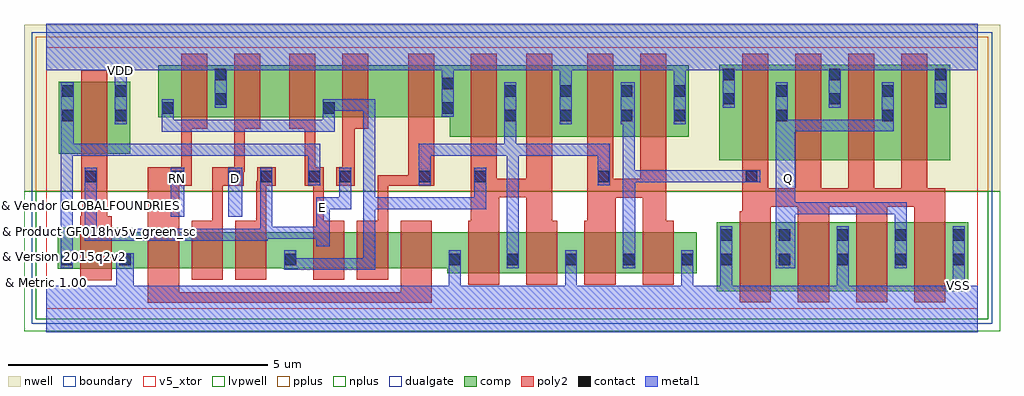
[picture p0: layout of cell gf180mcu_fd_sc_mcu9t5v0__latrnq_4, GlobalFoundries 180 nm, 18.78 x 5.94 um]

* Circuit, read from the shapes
.subckt gf180mcu_fd_sc_mcu9t5v0__latrnq_4 D E Q RN VDD VSS
XM1 VSS E n1 VSUBS nfet_05v0 w=0.79u l=0.6u
XM2 n2 RN VSS VSUBS nfet_05v0 w=0.7u l=0.6u
XM3 n3 D n2 VSUBS nfet_05v0 w=0.7u l=0.6u
XM4 n4 E n3 VSUBS nfet_05v0 w=0.7u l=0.6u
XM5 n5 n1 n4 VSUBS nfet_05v0 w=0.7u l=0.6u
XM6 n6 n7 n5 VSUBS nfet_05v0 w=0.7u l=0.6u
XM7 VSS RN n6 VSUBS nfet_05v0 w=0.7u l=0.6u
XM8 n7 n4 VSS VSUBS nfet_05v0 w=0.79u l=0.6u m=2
XM9 n8 n7 VSS VSUBS nfet_05v0 w=0.79u l=0.6u m=2
XM10 Q n8 VSS VSUBS nfet_05v0 w=1.32u l=0.6u m=4
XM11 VDD E n1 n9 pfet_05v0 w=1.38u l=0.5u
XM12 VDD RN n4 n9 pfet_05v0 w=1u l=0.5u
XM13 n10 D VDD n9 pfet_05v0 w=1u l=0.5u
XM14 n4 n1 n10 n9 pfet_05v0 w=1u l=0.5u
XM15 n11 E n4 n9 pfet_05v0 w=1u l=0.5u
XM16 VDD n7 n11 n9 pfet_05v0 w=1u l=0.5u
XM17 n7 n4 VDD n9 pfet_05v0 w=1.38u l=0.5u m=2
XM18 n8 n7 VDD n9 pfet_05v0 w=1.38u l=0.5u m=2
XM19 Q n8 VDD n9 pfet_05v0 w=1.83u l=0.5u m=4
.ends

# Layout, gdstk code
import gdstk
lib = gdstk.Library(unit=1e-6, precision=1e-09)
def R(c, l, rs):  # rectangles x0, y0, x1, y1
    for r in rs: c.add(gdstk.rectangle(r[:2], r[2:], *l))
def A(c, l, x, y, w, h, nx, ny, dx, dy):  # array of equal rectangles
    R(c, l, [(x+i*dx, y+j*dy, x+i*dx+w, y+j*dy+h) for i in range(nx) for j in range(ny)])
def P(c, l, *ps):  # polygons
    for p in ps: c.add(gdstk.Polygon(p, *l))
boundary = (0, 0)
nwell = (21, 0)
comp = (22, 0)
poly2 = (30, 0)
pplus = (31, 0)
nplus = (32, 0)
contact = (33, 0)
metal1 = (34, 0)
dualgate = (55, 0)
v5_xtor = (112, 1)
lvpwell = (204, 0)

gf180mcu_fd_sc_mcu9t5v0_ = lib.new_cell('gf180mcu_fd_sc_mcu9t5v0__latrnq_4')
R(gf180mcu_fd_sc_mcu9t5v0_, boundary, [(0,0,17.92,5.04)])
R(gf180mcu_fd_sc_mcu9t5v0_, nwell, [(-0.43,2.265,18.35,5.47)])
R(gf180mcu_fd_sc_mcu9t5v0_, comp, [(12.9,0.345,17.74,1.665), (12.95,2.865,17.39,4.695), (0.235,2.99,1.615,4.37)])
P(gf180mcu_fd_sc_mcu9t5v0_, comp, [(7.765,3.31),(7.765,3.69),(2.155,3.69),(2.155,4.69),(12.365,4.69),(12.365,3.31)],
  [(7.715,0.69),(7.715,0.78),(4.835,0.78),(4.835,0.775),(4.535,0.775),(4.535,0.78),(1.655,0.78),(1.655,0.775),(0.215,0.775),(0.215,1.565),(1.655,1.565),(1.655,1.48),(12.515,1.48),(12.515,0.69)])
P(gf180mcu_fd_sc_mcu9t5v0_, poly2, [(0.655,0.555),(0.655,1.785),(0.675,1.785),(0.675,4.59),(1.175,4.59),(1.175,1.785),(1.255,1.785),(1.255,0.555)],
  [(2.795,0.56),(2.795,1.7),(3.195,1.7),(3.195,2.73),(3.615,2.73),(3.615,4.91),(4.115,4.91),(4.115,3.47),(3.815,3.47),(3.815,2.64),(3.795,2.64),(3.795,2.37),(3.395,2.37),(3.395,0.56)],
  [(3.635,0.56),(3.635,1.7),(4.035,1.7),(4.035,2.46),(4.055,2.46),(4.055,2.73),(4.415,2.73),(4.415,2.37),(4.235,2.37),(4.235,0.56)],
  [(5.135,0.56),(5.135,2.37),(4.975,2.37),(4.975,3.47),(4.675,3.47),(4.675,4.91),(5.175,4.91),(5.175,2.73),(5.335,2.73),(5.335,1.7),(5.735,1.7),(5.735,0.56)],
  [(5.575,2.37),(5.575,2.73),(5.695,2.73),(5.695,4.91),(6.195,4.91),(6.195,3.47),(5.935,3.47),(5.935,2.37)],
  [(1.955,0.12),(1.955,2.73),(2.595,2.73),(2.595,4.91),(3.095,4.91),(3.095,3.47),(2.795,3.47),(2.795,2.37),(2.555,2.37),(2.555,0.32),(6.815,0.32),(6.815,1.7),(7.415,1.7),(7.415,0.12)],
  [(5.975,0.56),(5.975,1.7),(6.375,1.7),(6.375,2.57),(6.965,2.57),(6.965,4.91),(7.465,4.91),(7.465,2.37),(6.575,2.37),(6.575,0.56)],
  [(8.115,0.47),(8.115,1.7),(8.165,1.7),(8.165,4.91),(8.665,4.91),(8.665,2.505),(9.235,2.505),(9.235,4.91),(9.735,4.91),(9.735,1.7),(9.835,1.7),(9.835,0.47),(9.235,0.47),(9.235,2.145),(8.715,2.145),(8.715,0.47)],
  [(10.355,0.47),(10.355,1.7),(10.405,1.7),(10.405,4.91),(10.905,4.91),(10.905,2.505),(11.425,2.505),(11.425,4.91),(11.925,4.91),(11.925,1.7),(12.075,1.7),(12.075,0.47),(11.475,0.47),(11.475,2.14),(10.955,2.14),(10.955,0.47)],
  [(13.34,0.125),(13.34,1.885),(13.39,1.885),(13.39,4.915),(13.89,4.915),(13.89,2.325),(14.41,2.325),(14.41,4.915),(14.91,4.915),(14.91,2.325),(15.43,2.325),(15.43,4.915),(15.93,4.915),(15.93,2.325),(16.45,2.325),(16.45,4.915),(16.95,4.915),(16.95,2.325),(17.3,2.325),(17.3,0.125),(16.7,0.125),(16.7,1.965),(16.18,1.965),(16.18,0.125),(15.58,0.125),(15.58,1.965),(15.06,1.965),(15.06,0.125),(14.46,0.125),(14.46,1.965),(13.94,1.965),(13.94,0.125)])
R(gf180mcu_fd_sc_mcu9t5v0_, pplus, [(-0.2,2.265,18.12,5.24)])
R(gf180mcu_fd_sc_mcu9t5v0_, nplus, [(-0.2,-0.2,18.12,2.265)])
A(gf180mcu_fd_sc_mcu9t5v0_, contact, 7.745, 0.845, 0.22, 0.22, 5, 1, 1.12, 0)
A(gf180mcu_fd_sc_mcu9t5v0_, contact, 12.97, 0.845, 0.22, 0.22, 5, 2, 1.12, 0.47)
A(gf180mcu_fd_sc_mcu9t5v0_, contact, 13.02, 3.935, 0.22, 0.22, 3, 2, 2.04, 0.47)
R(gf180mcu_fd_sc_mcu9t5v0_, contact, [(0.285,0.845,0.505,1.065), (1.405,0.845,1.625,1.065), (4.585,0.845,4.805,1.065), (0.745,2.44,0.965,2.66), (2.425,2.44,2.645,2.66), (3.505,2.44,3.725,2.66), (4.125,2.44,4.345,2.66), (5.045,2.44,5.265,2.66), (5.645,2.44,5.865,2.66), (7.175,2.44,7.395,2.66), (8.235,2.44,8.455,2.66), (10.615,2.44,10.835,2.66), (13.46,2.44,13.68,2.66), (0.305,3.61,0.525,3.83), (1.325,3.61,1.545,3.83), (8.815,3.61,9.035,3.83), (9.885,3.61,10.105,3.83), (11.055,3.61,11.275,3.83), (12.075,3.61,12.295,3.83), (14.04,3.61,14.26,3.83), (16.08,3.61,16.3,3.83), (2.225,3.76,2.445,3.98), (5.325,3.76,5.545,3.98), (7.615,3.76,7.835,3.98), (3.245,3.93,3.465,4.15), (0.305,4.08,0.525,4.3), (1.325,4.08,1.545,4.3), (8.815,4.08,9.035,4.3), (9.885,4.08,10.105,4.3), (11.055,4.08,11.275,4.3), (12.075,4.08,12.295,4.3), (14.04,4.08,14.26,4.3), (16.08,4.08,16.3,4.3), (7.615,4.23,7.835,4.45), (3.245,4.4,3.465,4.62)])
R(gf180mcu_fd_sc_mcu9t5v0_, metal1, [(2.39,1.77,2.65,2.72), (3.5,1.77,3.77,2.72)])
P(gf180mcu_fd_sc_mcu9t5v0_, metal1, [(0.28,0.785),(0.28,4.36),(0.53,4.36),(0.53,3.18),(5.27,3.18),(5.27,2.38),(5.04,2.38),(5.04,2.95),(0.51,2.95),(0.51,0.785)],
  [(5.19,1.21),(5.19,1.355),(4.26,1.355),(4.26,1.31),(0.74,1.31),(0.74,2.72),(0.97,2.72),(0.97,1.54),(4.12,1.54),(4.12,2.72),(4.35,2.72),(4.35,1.585),(5.19,1.585),(5.19,2.15),(5.64,2.15),(5.64,2.72),(5.87,2.72),(5.87,1.92),(5.45,1.92),(5.45,1.21)],
  [(4.58,0.75),(4.58,1.125),(4.81,1.125),(4.81,0.98),(6.1,0.98),(6.1,3.81),(5.55,3.81),(5.55,3.41),(2.22,3.41),(2.22,4.04),(2.45,4.04),(2.45,3.64),(5.32,3.64),(5.32,4.04),(6.33,4.04),(6.33,2.15),(8.23,2.15),(8.23,2.72),(8.46,2.72),(8.46,1.92),(6.33,1.92),(6.33,0.75)],
  [(8.86,0.785),(8.86,2.95),(7.4,2.95),(7.4,2.38),(7.17,2.38),(7.17,3.18),(8.81,3.18),(8.81,4.36),(9.04,4.36),(9.04,3.18),(10.84,3.18),(10.84,2.38),(10.61,2.38),(10.61,2.95),(9.09,2.95),(9.09,0.785)],
  [(11.095,0.785),(11.095,3.55),(11.05,3.55),(11.05,4.36),(11.325,4.36),(11.325,2.665),(13.74,2.665),(13.74,2.435),(11.33,2.435),(11.33,0.785)],
  [(14.035,0.785),(14.035,4.36),(14.265,4.36),(14.265,3.645),(16.075,3.645),(16.075,4.36),(16.305,4.36),(16.305,3.415),(14.41,3.415),(14.41,2.055),(16.555,2.055),(16.555,0.785),(16.325,0.785),(16.325,1.825),(14.41,1.825),(14.41,0.785)],
  [(0,-0.45),(0,0.45),(1.345,0.45),(1.345,1.07),(1.685,1.07),(1.685,0.45),(7.74,0.45),(7.74,1.125),(7.97,1.125),(7.97,0.45),(9.98,0.45),(9.98,1.125),(10.21,1.125),(10.21,0.45),(12.22,0.45),(12.22,1.125),(12.45,1.125),(12.45,0.45),(12.965,0.45),(12.965,1.595),(13.195,1.595),(13.195,0.45),(15.205,0.45),(15.205,1.595),(15.435,1.595),(15.435,0.45),(17.445,0.45),(17.445,1.595),(17.675,1.595),(17.675,0.45),(17.92,0.45),(17.92,-0.45)],
  [(1.32,3.55),(1.32,4.59),(0,4.59),(0,5.49),(17.92,5.49),(17.92,4.59),(17.325,4.59),(17.325,3.875),(17.095,3.875),(17.095,4.59),(15.285,4.59),(15.285,3.875),(15.055,3.875),(15.055,4.59),(13.245,4.59),(13.245,3.875),(13.015,3.875),(13.015,4.59),(12.3,4.59),(12.3,3.55),(12.07,3.55),(12.07,4.59),(10.11,4.59),(10.11,3.55),(9.88,3.55),(9.88,4.59),(7.84,4.59),(7.84,3.7),(7.61,3.7),(7.61,4.59),(3.47,4.59),(3.47,3.87),(3.24,3.87),(3.24,4.59),(1.55,4.59),(1.55,3.55)])
R(gf180mcu_fd_sc_mcu9t5v0_, dualgate, [(-0.28,-0.28,18.2,5.32)])
R(gf180mcu_fd_sc_mcu9t5v0_, v5_xtor, [(0,0,17.92,5.04)])
R(gf180mcu_fd_sc_mcu9t5v0_, lvpwell, [(-0.43,-0.43,18.35,2.265)])
gf180mcu_fd_sc_mcu9t5v0_.add(gdstk.Label('D', (3.64,2.52), layer=34, texttype=10))
gf180mcu_fd_sc_mcu9t5v0_.add(gdstk.Label('E', (5.32,1.96), layer=34, texttype=10))
gf180mcu_fd_sc_mcu9t5v0_.add(gdstk.Label('Q', (14.28,2.52), layer=34, texttype=10))
gf180mcu_fd_sc_mcu9t5v0_.add(gdstk.Label('RN', (2.52,2.52), layer=34, texttype=10))
gf180mcu_fd_sc_mcu9t5v0_.add(gdstk.Label('VDD', (1.435,4.59), layer=34, texttype=10))
gf180mcu_fd_sc_mcu9t5v0_.add(gdstk.Label('VSS', (17.56,0.45), layer=34, texttype=10))
gf180mcu_fd_sc_mcu9t5v0_.add(gdstk.Label('& Vendor GLOBALFOUNDRIES', (0,2), layer=63, texttype=63))
gf180mcu_fd_sc_mcu9t5v0_.add(gdstk.Label('& Product GF018hv5v_green_sc9', (0,1.5), layer=63, texttype=63))
gf180mcu_fd_sc_mcu9t5v0_.add(gdstk.Label('& Version 2015q2v2', (0,1), layer=63, texttype=63))
gf180mcu_fd_sc_mcu9t5v0_.add(gdstk.Label('& Metric 1.00', (0,0.5), layer=63, texttype=63))

lib.write_gds('gf180mcu_fd_sc_mcu9t5v0__latrnq_4.gds')
